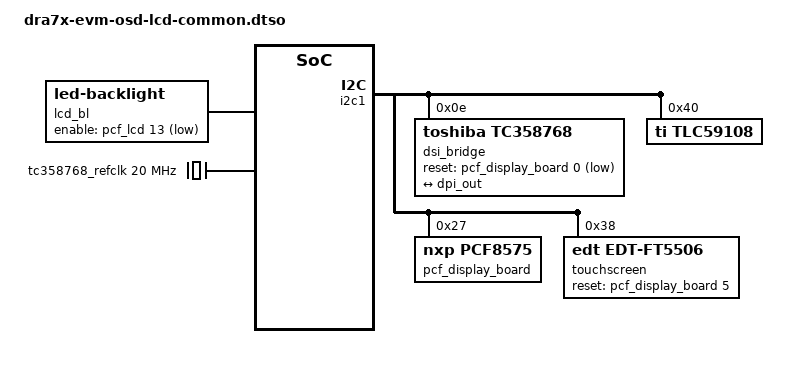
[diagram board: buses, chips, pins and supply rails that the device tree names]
// SPDX-License-Identifier: GPL-2.0
/*
 * Copyright (C) 2019 Texas Instruments Incorporated - http://www.ti.com/
 */

/dts-v1/;
/plugin/;
#include <dt-bindings/gpio/gpio.h>
#include <dt-bindings/interrupt-controller/irq.h>

/ {
  fragment@101 {
	target-path = "/";

	__overlay__ {
		aliases {
			display0 = "/display";
			display1 = "/connector";
		};

		lcd_bl: backlight {
			compatible = "led-backlight";
			leds = <&backlight_led>;
			brightness-levels = <0 243 245 247 248 249 251 252 255>;
			default-brightness-level = <8>;

			enable-gpios = <&pcf_lcd 13 GPIO_ACTIVE_LOW>;
		};

		tc358768_refclk: tc358768_refclk {
			#clock-cells = <0>;
			compatible = "fixed-clock";
			clock-frequency = <20000000>;
		};
	};
  };
};

&i2c1 {
	dsi_bridge: tc358768@0e {
		compatible = "toshiba,tc358768";
		reg = <0x0e>;
		#address-cells = <1>;
		#size-cells = <0>;

		clocks = <&tc358768_refclk>;
		clock-names = "refclk";

		reset-gpios = <&pcf_display_board 0 GPIO_ACTIVE_LOW>;

		dsi_bridge_ports: ports {
			#address-cells = <1>;
			#size-cells = <0>;

			port@0 {
				reg = <0>;
				rgb_in: endpoint {
					remote-endpoint = <&dpi_out>;
					data-lines = <24>;
				};
			};
		};
	};

	tlc59108: tlc59116@40 {
		#address-cells = <1>;
		#size-cells = <0>;
		compatible = "ti,tlc59108";
		reg = <0x40>;

		backlight_led: bl@2 {
			label = "backlight";
			reg = <0x2>;
		};
	};

	pcf_display_board: gpio@27 {
		compatible = "nxp,pcf8575";
		reg = <0x27>;
		gpio-controller;
		#gpio-cells = <2>;
	};

	touchscreen: edt-ft5506@38 {
		status = "okay";
		compatible = "edt,edt-ft5506", "edt,edt-ft5x06";

		reg = <0x38>;

		/* GPIO line is inverted before going to touch panel */
		reset-gpios = <&pcf_display_board 5 GPIO_ACTIVE_HIGH>;

		touchscreen-size-x = <1920>;
		touchscreen-size-y = <1200>;

		wakeup-source;
	};
};

&dss {
	ports {
		#address-cells = <1>;
		#size-cells = <0>;

		port@0 {
			reg = <0>;

			dpi_out: endpoint {
				remote-endpoint = <&rgb_in>;
				data-lines = <24>;
			};
		};

	};
};
